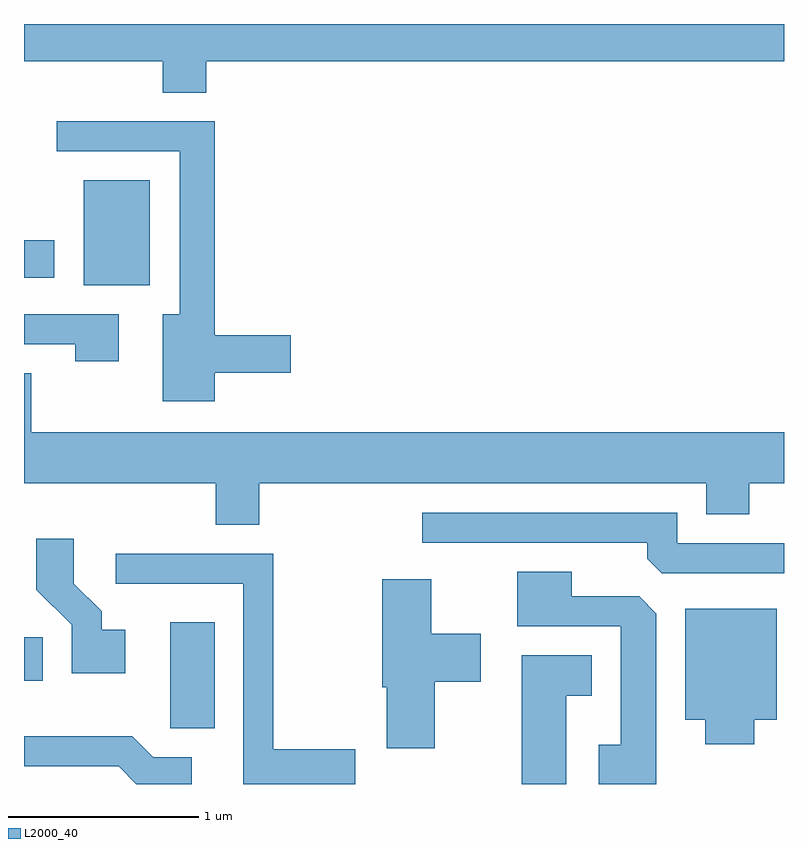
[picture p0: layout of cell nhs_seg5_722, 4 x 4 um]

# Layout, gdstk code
import gdstk
lib = gdstk.Library(unit=1e-6, precision=1e-09)
def R(c, l, rs):  # rectangles x0, y0, x1, y1
    for r in rs: c.add(gdstk.rectangle(r[:2], r[2:], *l))
def P(c, l, *ps):  # polygons
    for p in ps: c.add(gdstk.Polygon(p, *l))
L2000_40 = (2000, 40)

nhs_seg5_722 = lib.new_cell('nhs_seg5_722')
R(nhs_seg5_722, L2000_40, [(206.381,1484.366,206.614,1484.924), (205.611,1484.616,205.709,1484.844), (205.926,1486.696,206.274,1487.249), (205.611,1486.736,205.769,1486.934)])
P(nhs_seg5_722, L2000_40, [(206.569,1487.876),(209.611,1487.876),(209.611,1488.072),(205.611,1488.072),(205.611,1487.876),(206.341,1487.876),(206.341,1487.711),(206.569,1487.711)],
  [(206.614,1486.236),(207.014,1486.236),(207.014,1486.434),(206.614,1486.434),(206.614,1487.559),(205.783,1487.559),(205.783,1487.401),(206.431,1487.401),(206.431,1486.544),(206.341,1486.544),(206.341,1486.086),(206.614,1486.086)],
  [(206.109,1486.544),(205.611,1486.544),(205.611,1486.386),(205.881,1486.386),(205.881,1486.296),(206.109,1486.296)],
  [(206.849,1485.656),(209.201,1485.656),(209.201,1485.491),(209.429,1485.491),(209.429,1485.656),(209.611,1485.656),(209.611,1485.924),(205.649,1485.924),(205.649,1486.234),(205.611,1486.234),(205.611,1485.656),(206.621,1485.656),(206.621,1485.436),(206.849,1485.436)],
  [(209.611,1485.339),(209.049,1485.339),(209.049,1485.499),(207.708,1485.499),(207.708,1485.341),(208.891,1485.341),(208.891,1485.257),(208.967,1485.181),(209.611,1485.181)],
  [(206.144,1484.884),(206.019,1484.884),(206.019,1484.982),(205.874,1485.127),(205.874,1485.364),(205.676,1485.364),(205.676,1485.094),(205.861,1484.909),(205.861,1484.656),(206.144,1484.656)],
  [(207.354,1484.254),(206.924,1484.254),(206.924,1485.284),(206.093,1485.284),(206.093,1485.126),(206.766,1485.126),(206.766,1484.072),(207.354,1484.072)],
  [(208.939,1484.969),(208.849,1485.059),(208.494,1485.059),(208.494,1485.189),(208.206,1485.189),(208.206,1484.901),(208.751,1484.901),(208.751,1484.279),(208.636,1484.279),(208.636,1484.072),(208.939,1484.072)],
  [(207.774,1484.611),(208.014,1484.611),(208.014,1484.864),(207.754,1484.864),(207.754,1485.149),(207.496,1485.149),(207.496,1484.581),(207.521,1484.581),(207.521,1484.261),(207.774,1484.261)],
  [(209.454,1484.411),(209.574,1484.411),(209.574,1484.994),(209.091,1484.994),(209.091,1484.411),(209.196,1484.411),(209.196,1484.281),(209.454,1484.281)],
  [(208.464,1484.536),(208.599,1484.536),(208.599,1484.749),(208.231,1484.749),(208.231,1484.072),(208.464,1484.072)],
  [(206.493,1484.214),(206.292,1484.214),(206.182,1484.324),(205.611,1484.324),(205.611,1484.166),(206.109,1484.166),(206.203,1484.072),(206.493,1484.072)])

lib.write_gds('nhs_seg5_722.gds')
